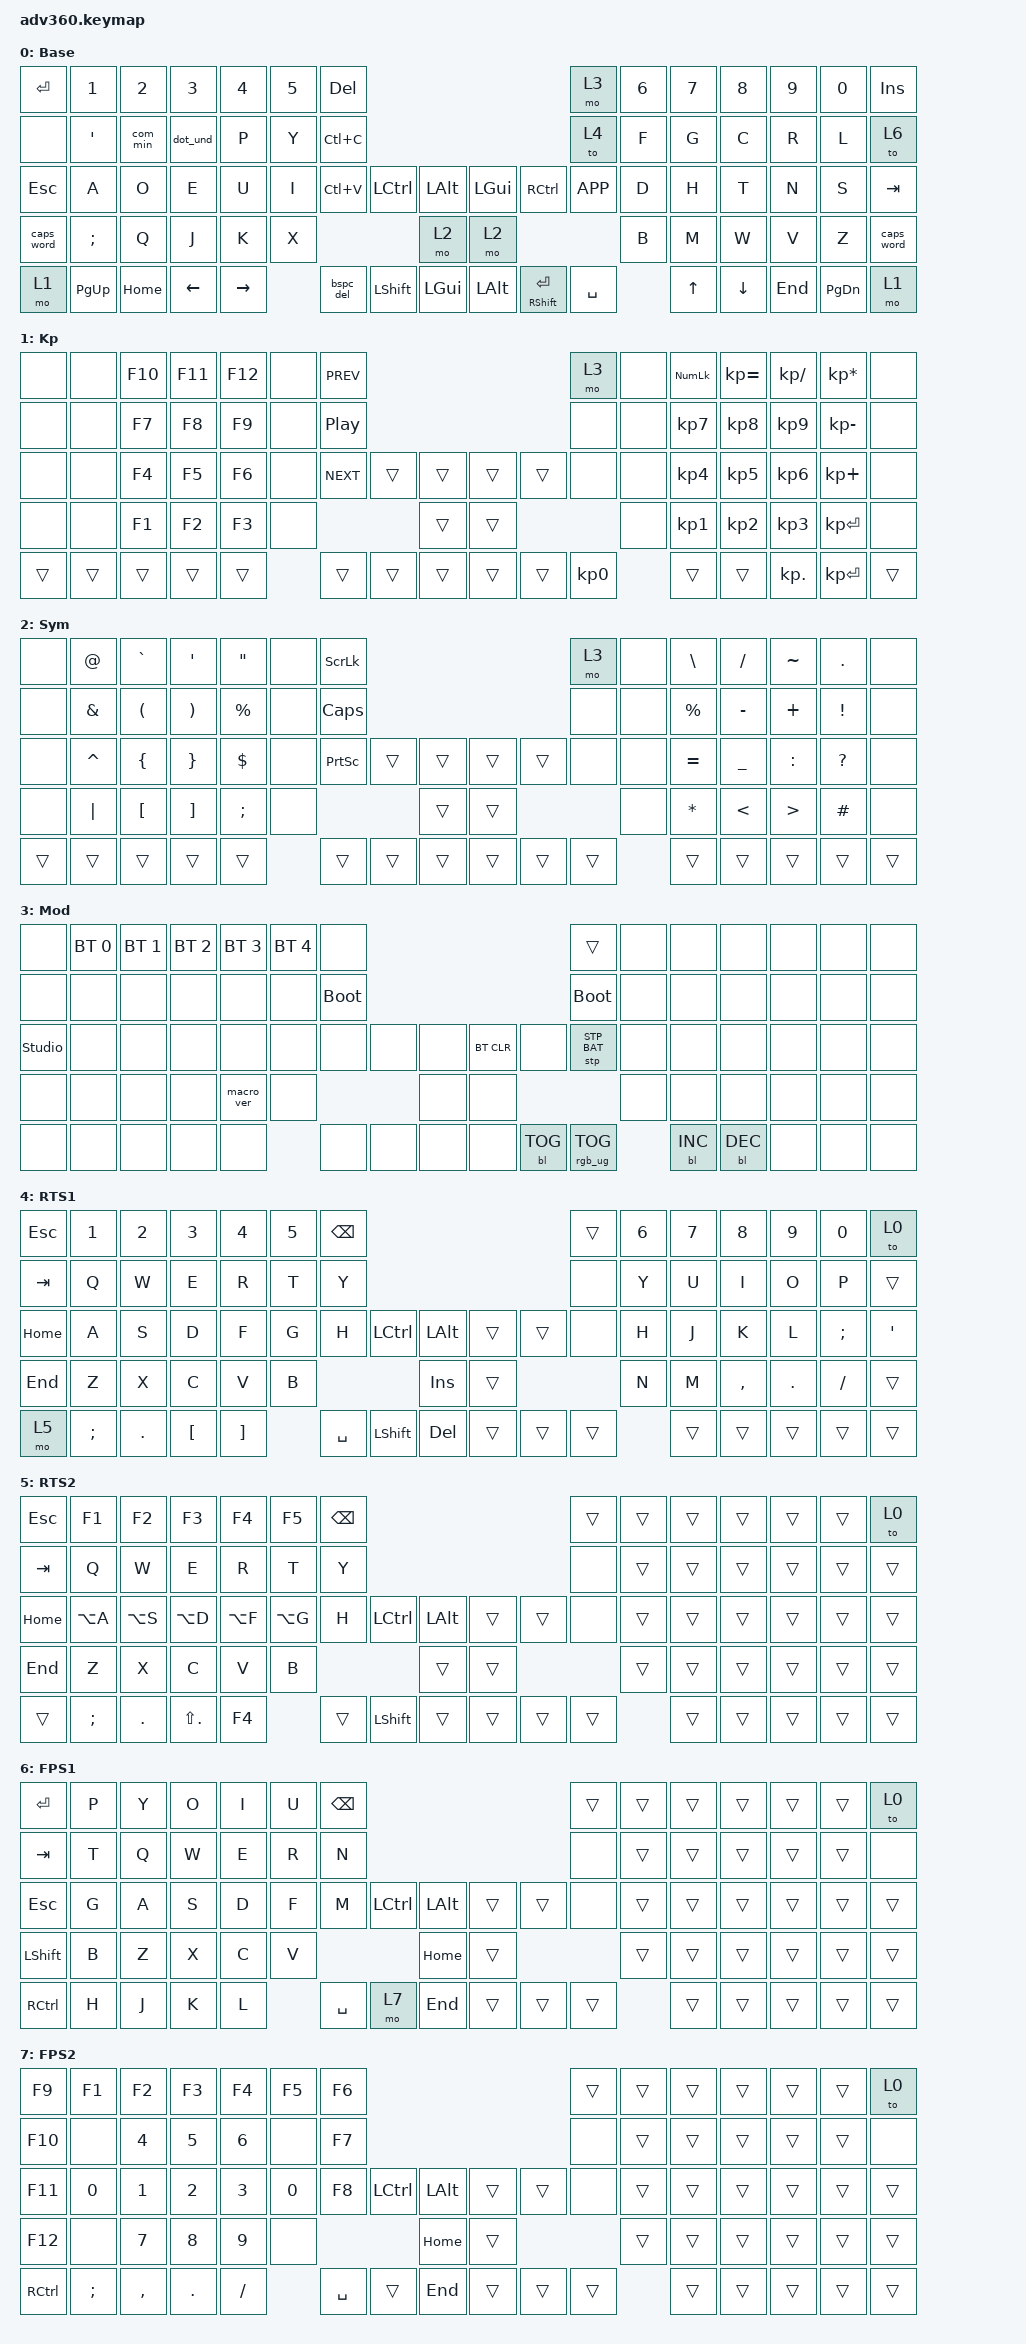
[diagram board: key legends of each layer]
#include <dt-bindings/zmk/stp.h>
#include <behaviors.dtsi>
#include <dt-bindings/zmk/backlight.h>
#include <dt-bindings/zmk/bt.h>
#include <dt-bindings/zmk/keys.h>
#include <dt-bindings/zmk/rgb.h>

/ {
    behaviors {
        #include "macros.dtsi"
      #include "version.dtsi"

        hm: homerow_mods {
            compatible = "zmk,behavior-hold-tap";
            label = "HOMEROW_MODS";
            #binding-cells = <2>;
            tapping-term-ms = <200>;
            quick_tap_ms = <175>;
            flavor = "tap-preferred";
            bindings = <&kp>, <&kp>;
        };

        bspc_del: backspace_delete {
            compatible = "zmk,behavior-mod-morph";
            label = "BSPC_DEL";
            bindings = <&kp BACKSPACE>, <&kp DELETE>;

            #binding-cells = <0>;
            mods = <(MOD_LSFT|MOD_RSFT)>;
            keep-mods = <(MOD_LSFT)>;
        };

        dot_und: dot_under {
            compatible = "zmk,behavior-mod-morph";
            label = "DOT_UND";
            bindings = <&kp DOT>, <&kp UNDER>;

            #binding-cells = <0>;
            mods = <(MOD_LSFT|MOD_RSFT)>;
        };

        com_min: comma_minus {
            compatible = "zmk,behavior-mod-morph";
            label = "COM_MIN";
            bindings = <&kp COMMA>, <&kp MINUS>;

            #binding-cells = <0>;
            mods = <(MOD_LSFT|MOD_RSFT)>;
        };

        num1: number_symbol_1 {
            compatible = "zmk,behavior-mod-morph";
            label = "NUM1";
            bindings = <&kp N1>, <&kp HASH>;

            #binding-cells = <0>;
            mods = <(MOD_LSFT|MOD_RSFT)>;
        };

        num2: number_symbol_2 {
            compatible = "zmk,behavior-mod-morph";
            label = "NUM2";
            bindings = <&kp N2>, <&kp CARET>;

            #binding-cells = <0>;
            mods = <(MOD_LSFT|MOD_RSFT)>;
        };

        num3: number_symbol_3 {
            compatible = "zmk,behavior-mod-morph";
            label = "NUM3";
            bindings = <&kp N3>, <&kp LEFT_BRACE>;

            #binding-cells = <0>;
            mods = <(MOD_LSFT|MOD_RSFT)>;
        };

        num4: number_symbol_4 {
            compatible = "zmk,behavior-mod-morph";
            label = "NUM4";
            bindings = <&kp N4>, <&kp LEFT_PARENTHESIS>;

            #binding-cells = <0>;
            mods = <(MOD_LSFT|MOD_RSFT)>;
        };

        num5: number_symbol_5 {
            compatible = "zmk,behavior-mod-morph";
            label = "NUM5";
            bindings = <&kp N5>, <&kp PERCENT>;

            #binding-cells = <0>;
            mods = <(MOD_LSFT|MOD_RSFT)>;
        };

        num6: number_symbol_6 {
            compatible = "zmk,behavior-mod-morph";
            label = "NUM6";
            bindings = <&kp N6>, <&kp EQUAL>;

            #binding-cells = <0>;
            mods = <(MOD_LSFT|MOD_RSFT)>;
        };

        num7: number_symbol_7 {
            compatible = "zmk,behavior-mod-morph";
            label = "NUM7";
            bindings = <&kp N7>, <&kp RIGHT_PARENTHESIS>;

            #binding-cells = <0>;
            mods = <(MOD_LSFT|MOD_RSFT)>;
        };

        num8: number_symbol_8 {
            compatible = "zmk,behavior-mod-morph";
            label = "NUM8";
            bindings = <&kp N8>, <&kp RIGHT_BRACE>;

            #binding-cells = <0>;
            mods = <(MOD_LSFT|MOD_RSFT)>;
        };

        num9: number_symbol_9 {
            compatible = "zmk,behavior-mod-morph";
            label = "NUM9";
            bindings = <&kp N9>, <&kp DLLR>;

            #binding-cells = <0>;
            mods = <(MOD_LSFT|MOD_RSFT)>;
        };

        num0: number_symbol_0 {
            compatible = "zmk,behavior-mod-morph";
            label = "NUM0";
            bindings = <&kp N0>, <&kp STAR>;

            #binding-cells = <0>;
            mods = <(MOD_LSFT|MOD_RSFT)>;
        };
    };

    keymap {
        compatible = "zmk,keymap";

        default {
            display-name = "Base";
            bindings = <
&kp ENTER   &kp N1     &kp N2    &kp N3    &kp N4     &kp N5  &kp DEL                                                        &mo 3      &kp N6  &kp N7  &kp N8    &kp N9   &kp N0     &kp INS
&none       &kp SQT    &com_min  &dot_und  &kp P      &kp Y   &kp LC(C)                                                      &to 4      &kp F   &kp G   &kp C     &kp R    &kp L      &to 6
&kp ESC     &kp A      &kp O     &kp E     &kp U      &kp I   &kp LC(V)  &kp LCTRL  &kp LALT      &kp LGUI  &kp RCTRL        &kp K_APP  &kp D   &kp H   &kp T     &kp N    &kp S      &kp TAB
&caps_word  &kp SEMI   &kp Q     &kp J     &kp K      &kp X                         &mo 2         &mo 2                                 &kp B   &kp M   &kp W     &kp V    &kp Z      &caps_word
&mo 1       &kp PG_UP  &kp HOME  &kp LEFT  &kp RIGHT          &bspc_del  &kp LSHFT  &kp LGUI      &kp LALT  &mt RSHFT ENTER  &kp SPACE          &kp UP  &kp DOWN  &kp END  &kp PG_DN  &mo 1
            >;
        };

        keypad {
            display-name = "Kp";
            bindings = <
&none   &none   &kp F10  &kp F11  &kp F12  &none  &kp C_PREV                                      &mo 3      &none  &kp KP_NUM  &kp KP_EQUAL  &kp KP_DIVIDE  &kp KP_MULTIPLY  &none
&none   &none   &kp F7   &kp F8   &kp F9   &none  &kp C_PP                                        &none      &none  &kp KP_N7   &kp KP_N8     &kp KP_N9      &kp KP_MINUS     &none
&none   &none   &kp F4   &kp F5   &kp F6   &none  &kp C_NEXT  &trans  &trans      &trans  &trans  &none      &none  &kp KP_N4   &kp KP_N5     &kp KP_N6      &kp KP_PLUS      &none
&none   &none   &kp F1   &kp F2   &kp F3   &none                      &trans      &trans                     &none  &kp KP_N1   &kp KP_N2     &kp KP_N3      &kp KP_ENTER     &none
&trans  &trans  &trans   &trans   &trans          &trans      &trans  &trans      &trans  &trans  &kp KP_N0         &trans      &trans        &kp KP_DOT     &kp KP_ENTER     &trans
            >;
        };

        symbol {
            display-name = "Sym";
            bindings = <
&none   &kp AT     &kp GRAVE  &kp SQT   &kp DQT    &none  &kp SCROLLLOCK                                      &mo 3   &none  &kp BSLH   &kp FSLH   &kp TILDE  &kp DOT    &none
&none   &kp AMPS   &kp LPAR   &kp RPAR  &kp PRCNT  &none  &kp CAPS                                            &none   &none  &kp PRCNT  &kp MINUS  &kp PLUS   &kp EXCL   &none
&none   &kp CARET  &kp LBRC   &kp RBRC  &kp DLLR   &none  &kp PSCRN       &trans  &trans      &trans  &trans  &none   &none  &kp EQUAL  &kp UNDER  &kp COLON  &kp QMARK  &none
&none   &kp PIPE   &kp LBKT   &kp RBKT  &kp SEMI   &none                          &trans      &trans                  &none  &kp STAR   &kp LT     &kp GT     &kp HASH   &none
&trans  &trans     &trans     &trans    &trans            &trans          &trans  &trans      &trans  &trans  &trans         &trans     &trans     &trans     &trans     &trans
            >;
        };

        mod {
            display-name = "Mod";
            bindings = <
&none           &bt BT_SEL 0  &bt BT_SEL 1  &bt BT_SEL 2  &bt BT_SEL 3  &bt BT_SEL 4  &none                                                  &trans           &none  &none       &none       &none  &none  &none
&none           &none         &none         &none         &none         &none         &bootloader                                            &bootloader      &none  &none       &none       &none  &none  &none
&studio_unlock  &none         &none         &none         &none         &none         &none        &none  &none      &bt BT_CLR  &none       &stp STP_BAT     &none  &none       &none       &none  &none  &none
&none           &none         &none         &none         &macro_ver    &none                             &none      &none                                    &none  &none       &none       &none  &none  &none
&none           &none         &none         &none         &none                       &none        &none  &none      &none       &bl BL_TOG  &rgb_ug RGB_TOG         &bl BL_INC  &bl BL_DEC  &none  &none  &none
            >;
        };

        RTS1 {
            bindings = <
&kp ESC   &kp N1    &kp N2   &kp N3            &kp N4             &kp N5  &kp BSPC                                            &trans  &kp N6  &kp N7  &kp N8     &kp N9   &kp N0    &to 0
&kp TAB   &kp Q     &kp W    &kp E             &kp R              &kp T   &kp Y                                               &none   &kp Y   &kp U   &kp I      &kp O    &kp P     &trans
&kp HOME  &kp A     &kp S    &kp D             &kp F              &kp G   &kp H      &kp LCTRL  &kp LALT      &trans  &trans  &none   &kp H   &kp J   &kp K      &kp L    &kp SEMI  &kp APOS
&kp END   &kp Z     &kp X    &kp C             &kp V              &kp B                         &kp INS       &trans                  &kp N   &kp M   &kp COMMA  &kp DOT  &kp FSLH  &trans
&mo 5     &kp SEMI  &kp DOT  &kp LEFT_BRACKET  &kp RIGHT_BRACKET          &kp SPACE  &kp LSHFT  &kp DEL       &trans  &trans  &trans          &trans  &trans     &trans   &trans    &trans
            >;
        };

        RTS2 {
            bindings = <
&kp ESC   &kp F1     &kp F2     &kp F3       &kp F4     &kp F5     &kp BSPC                                           &trans  &trans  &trans  &trans  &trans  &trans  &to 0
&kp TAB   &kp Q      &kp W      &kp E        &kp R      &kp T      &kp Y                                              &none   &trans  &trans  &trans  &trans  &trans  &trans
&kp HOME  &kp LA(A)  &kp LA(S)  &kp LA(D)    &kp LA(F)  &kp LA(G)  &kp H     &kp LCTRL  &kp LALT      &trans  &trans  &none   &trans  &trans  &trans  &trans  &trans  &trans
&kp END   &kp Z      &kp X      &kp C        &kp V      &kp B                           &trans        &trans                  &trans  &trans  &trans  &trans  &trans  &trans
&trans    &kp SEMI   &kp DOT    &kp LS(DOT)  &kp F4                &trans    &kp LSHFT  &trans        &trans  &trans  &trans          &trans  &trans  &trans  &trans  &trans
            >;
        };

        FPS1 {
            bindings = <
&kp ENTER   &kp P  &kp Y  &kp O  &kp I  &kp U  &kp BSPC                                            &trans  &trans  &trans  &trans  &trans  &trans  &to 0
&kp TAB     &kp T  &kp Q  &kp W  &kp E  &kp R  &kp N                                               &none   &trans  &trans  &trans  &trans  &trans  &none
&kp ESCAPE  &kp G  &kp A  &kp S  &kp D  &kp F  &kp M      &kp LCTRL  &kp LALT      &trans  &trans  &none   &trans  &trans  &trans  &trans  &trans  &trans
&kp LSHIFT  &kp B  &kp Z  &kp X  &kp C  &kp V                        &kp HOME      &trans                  &trans  &trans  &trans  &trans  &trans  &trans
&kp RCTRL   &kp H  &kp J  &kp K  &kp L         &kp SPACE  &mo 7      &kp END       &trans  &trans  &trans          &trans  &trans  &trans  &trans  &trans
            >;
        };

        FPS2 {
            bindings = <
&kp F9     &kp F1    &kp F2     &kp F3      &kp F4     &kp F5  &kp F6                                              &trans  &trans  &trans  &trans  &trans  &trans  &to 0
&kp F10    &none     &kp N4     &kp N5      &kp N6     &none   &kp F7                                              &none   &trans  &trans  &trans  &trans  &trans  &none
&kp F11    &kp N0    &kp N1     &kp N2      &kp N3     &kp N0  &kp F8     &kp LCTRL  &kp LALT      &trans  &trans  &none   &trans  &trans  &trans  &trans  &trans  &trans
&kp F12    &none     &kp N7     &kp N8      &kp N9     &none                         &kp HOME      &trans                  &trans  &trans  &trans  &trans  &trans  &trans
&kp RCTRL  &kp SEMI  &kp COMMA  &kp PERIOD  &kp SLASH          &kp SPACE  &trans     &kp END       &trans  &trans  &trans          &trans  &trans  &trans  &trans  &trans
            >;
        };
    };
};
